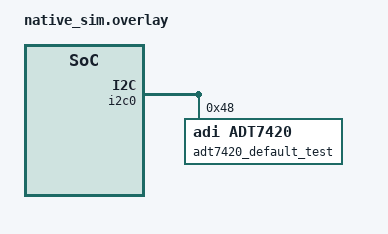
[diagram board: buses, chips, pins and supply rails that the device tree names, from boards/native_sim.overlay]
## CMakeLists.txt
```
# Copyright (c) 2026, Analog Devices, Inc.
# SPDX-License-Identifier: Apache-2.0

cmake_minimum_required(VERSION 3.28.0)
find_package(Zephyr REQUIRED HINTS $ENV{ZEPHYR_BASE})
project(device)

FILE(GLOB app_sources src/*.c)
target_sources(app PRIVATE ${app_sources})

zephyr_include_directories(${ZEPHYR_BASE}/drivers/sensor/adi/adt7420)
```

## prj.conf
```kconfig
# Copyright (c) 2026, Analog Devices, Inc.
# SPDX-License-Identifier: Apache-2.0

CONFIG_STDOUT_CONSOLE=y
CONFIG_I2C=y
CONFIG_SENSOR=y
CONFIG_CBPRINTF_FP_SUPPORT=y
CONFIG_PM_DEVICE=y
CONFIG_EMUL=y
CONFIG_ZTEST=y
CONFIG_ADT7420=y
```

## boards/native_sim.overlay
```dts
/*
 * Copyright (c) 2026, Analog Devices, Inc.
 * SPDX-License-Identifier: Apache-2.0
 */

&i2c0 {
	status = "okay";

	adt7420_default_test: adt7420@48 {
		compatible = "adi,adt7420";
		reg = <0x48>;
		op-mode = "one-shot";
		set-resolution = <16>;
		set-comparator-mode;
	};
};

/ {
	aliases {
		adt7420 = &adt7420_default_test;
	};
};
```

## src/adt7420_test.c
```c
/*
 * Copyright (c) 2026, Analog Devices Inc.
 *
 * SPDX-License-Identifier: Apache-2.0
 */

#include <zephyr/devicetree.h>
#include <zephyr/drivers/emul_sensor.h>
#include <zephyr/drivers/emul.h>
#include <zephyr/drivers/i2c_emul.h>
#include <zephyr/drivers/sensor/adt7420.h>
#include <zephyr/ztest.h>

#include "adt7420_emul.h"

#include <zephyr/logging/log.h>

#define LOG_MODULE_NAME test_adt7420_regs
LOG_MODULE_REGISTER(LOG_MODULE_NAME, LOG_LEVEL_INF);

#define ADT7420_TEST_CONFIG_FAULT_QUEUE_MASK	GENMASK(1, 0)
#define ADT7420_TEST_RESOLUTION_13_BIT_MICRO_C	7813 /* 0.0078125 */
#define ADT7420_TEST_RESOLUTION_16_BIT_MICRO_C	62500 /* 0.0625 */


struct adt7420_fixture {
	const struct device *dev;
	const struct emul *emul;
};

static void adt7420_after(void *data)
{
	const struct adt7420_fixture *fixture = data;

	adt7420_emul_reset(fixture->emul);
}

static void *adt7420_setup(void)
{
	static struct adt7420_fixture fixture = {
		.dev = DEVICE_DT_GET(DT_ALIAS(adt7420)),
		.emul = EMUL_DT_GET(DT_ALIAS(adt7420)),
	};

	zassert_not_null(fixture.dev);
	zassert_not_null(fixture.emul);
	zassert_true(device_is_ready(fixture.dev));

	return &fixture;
}

ZTEST_SUITE(adt7420, NULL, adt7420_setup, NULL, adt7420_after, NULL);

/* Attribute test */

/* test configuration via sensor_attr_set and sensor_attr_get */
ZTEST_F(adt7420, test_resolution)
{
	struct sensor_value sensor_val = {0};
	uint8_t target_val = 16;

	sensor_val.val1 = 1;
	zassert_equal(0,
		      sensor_attr_set(fixture->dev, SENSOR_CHAN_AMBIENT_TEMP,
				      SENSOR_ATTR_RESOLUTION, &sensor_val),
		      "Could not set sensor resolution");

	zassert_equal(0,
		      sensor_attr_get(fixture->dev, SENSOR_CHAN_AMBIENT_TEMP,
				      SENSOR_ATTR_RESOLUTION, &sensor_val),
		      "Could not get sensor resolution");

	zassert_equal(target_val, sensor_val.val1, "Expected %d, Received %d", target_val,
		      sensor_val.val1);
}

/* test all valid operation modes via SENSOR_ATTR_SAMPLING_FREQUENCY */
ZTEST_F(adt7420, test_sampling_frequency)
{
	struct sensor_value sensor_val = {0};

	for (uint8_t mode = ADT7420_OP_MODE_CONT_CONV; mode <= ADT7420_OP_MODE_SHUTDOWN; mode++) {
		sensor_val.val1 = mode;
		zassert_equal(0,
			      sensor_attr_set(fixture->dev, SENSOR_CHAN_AMBIENT_TEMP,
					      SENSOR_ATTR_SAMPLING_FREQUENCY, &sensor_val),
			      "Could not set sampling frequency mode %d", mode);

		zassert_equal(0,
			      sensor_attr_get(fixture->dev, SENSOR_CHAN_AMBIENT_TEMP,
					      SENSOR_ATTR_SAMPLING_FREQUENCY, &sensor_val),
			      "Could not get sampling frequency");

		zassert_equal(mode, sensor_val.val1, "Expected op mode %d, got %d", mode,
			      sensor_val.val1);
	}
}

/* test upper temperature threshold via SENSOR_ATTR_UPPER_THRESH */
ZTEST_F(adt7420, test_upper_threshold)
{
	struct sensor_value sensor_val = {0};

	sensor_val.val1 = 25;
	sensor_val.val2 = 0;
	zassert_equal(0,
		      sensor_attr_set(fixture->dev, SENSOR_CHAN_AMBIENT_TEMP,
				      SENSOR_ATTR_UPPER_THRESH, &sensor_val),
		      "Could not set upper threshold");

	zassert_equal(0,
		      sensor_attr_get(fixture->dev, SENSOR_CHAN_AMBIENT_TEMP,
				      SENSOR_ATTR_UPPER_THRESH, &sensor_val),
		      "Could not get upper threshold");

	zassert_equal(25, sensor_val.val1, "Expected 25 C, got %d", sensor_val.val1);
	zassert_equal(0, sensor_val.val2, "Expected val2 = 0, got %d", sensor_val.val2);
}

/* test lower temperature threshold via SENSOR_ATTR_LOWER_THRESH */
ZTEST_F(adt7420, test_lower_threshold)
{
	struct sensor_value sensor_val = {0};
	uint8_t target_val = 10;

	sensor_val.val1 = target_val;
	sensor_val.val2 = 0;
	zassert_equal(0,
		      sensor_attr_set(fixture->dev, SENSOR_CHAN_AMBIENT_TEMP,
				      SENSOR_ATTR_LOWER_THRESH, &sensor_val),
		      "Could not set lower threshold");

	zassert_equal(0,
		      sensor_attr_get(fixture->dev, SENSOR_CHAN_AMBIENT_TEMP,
				      SENSOR_ATTR_LOWER_THRESH, &sensor_val),
		      "Could not get lower threshold");

	zassert_equal(target_val, sensor_val.val1, "Expected 10 C, got %d", sensor_val.val1);
	zassert_equal(0, sensor_val.val2, "Expected val2 = 0, got %d", sensor_val.val2);
}

/* test lower temperature threshold via SENSOR_ATTR_LOWER_THRESH */
ZTEST_F(adt7420, test_lower_threshold_negative)
{
	struct sensor_value sensor_val = {0};
	int8_t target_val = -10;

	sensor_val.val1 = target_val;
	sensor_val.val2 = 0;
	zassert_equal(0,
		      sensor_attr_set(fixture->dev, SENSOR_CHAN_AMBIENT_TEMP,
				      SENSOR_ATTR_LOWER_THRESH, &sensor_val),
		      "Could not set lower threshold");

	zassert_equal(0,
		      sensor_attr_get(fixture->dev, SENSOR_CHAN_AMBIENT_TEMP,
				      SENSOR_ATTR_LOWER_THRESH, &sensor_val),
		      "Could not get lower threshold");

	zassert_equal(target_val, sensor_val.val1, "Expected 10 C, got %d", sensor_val.val1);
	zassert_equal(0, sensor_val.val2, "Expected val2 = 0, got %d", sensor_val.val2);
}

/* test hysteresis temperature via SENSOR_ATTR_HYSTERESIS */
ZTEST_F(adt7420, test_hysteresis)
{
	struct sensor_value sensor_val = {0};

	sensor_val.val1 = 5;
	zassert_equal(0,
		      sensor_attr_set(fixture->dev, SENSOR_CHAN_AMBIENT_TEMP,
				      SENSOR_ATTR_HYSTERESIS, &sensor_val),
		      "Could not set hysteresis");

	zassert_equal(0,
		      sensor_attr_get(fixture->dev, SENSOR_CHAN_AMBIENT_TEMP,
				      SENSOR_ATTR_HYSTERESIS, &sensor_val),
		      "Could not get hysteresis");

	zassert_equal(5, sensor_val.val1, "Expected hysteresis 5, got %d", sensor_val.val1);
}

/* test fault queue count via SENSOR_ATTR_FEATURE_MASK */
ZTEST_F(adt7420, test_fault_queue)
{
	struct sensor_value sensor_val = {0};
	uint8_t reg_val;

	sensor_val.val1 = ADT7420_FAULT_QUEUE_4_FAULTS;
	zassert_equal(0,
		      sensor_attr_set(fixture->dev, SENSOR_CHAN_AMBIENT_TEMP,
				      SENSOR_ATTR_FEATURE_MASK, &sensor_val),
		      "Could not set fault queue");

	adt7420_emul_get_reg(fixture->emul, ADT7420_REG_CONFIG, &reg_val);
	zassert_equal(ADT7420_FAULT_QUEUE_4_FAULTS,
		      FIELD_GET(ADT7420_TEST_CONFIG_FAULT_QUEUE_MASK, reg_val),
		      "Expected fault queue %d in CONFIG reg, got %d", ADT7420_FAULT_QUEUE_4_FAULTS,
		      FIELD_GET(ADT7420_TEST_CONFIG_FAULT_QUEUE_MASK, reg_val));

	zassert_equal(-ENOTSUP,
		      sensor_attr_get(fixture->dev, SENSOR_CHAN_AMBIENT_TEMP,
				      SENSOR_ATTR_FEATURE_MASK, &sensor_val),
		      "Expected -ENOTSUP for SENSOR_ATTR_FEATURE_MASK get");
}

/* test that an unsupported attribute returns -ENOTSUP for both set and get */
ZTEST_F(adt7420, test_unsupported_attr)
{
	struct sensor_value sensor_val = {0};

	zassert_equal(-ENOTSUP,
		      sensor_attr_set(fixture->dev, SENSOR_CHAN_AMBIENT_TEMP,
				      SENSOR_ATTR_OVERSAMPLING, &sensor_val),
		      "Expected -ENOTSUP for unsupported attr set");

	zassert_equal(-ENOTSUP,
		      sensor_attr_get(fixture->dev, SENSOR_CHAN_AMBIENT_TEMP,
				      SENSOR_ATTR_OVERSAMPLING, &sensor_val),
		      "Expected -ENOTSUP for unsupported attr get");
}

/* test alert status flags via SENSOR_ATTR_ALERT */
ZTEST_F(adt7420, test_alert)
{
	struct sensor_value sensor_val = {0};
	uint8_t status = ADT7420_STATUS_T_HIGH | ADT7420_STATUS_T_CRIT;

	adt7420_emul_set_reg(fixture->emul, ADT7420_REG_STATUS, &status);

	zassert_equal(0,
		      sensor_attr_get(fixture->dev, SENSOR_CHAN_AMBIENT_TEMP, SENSOR_ATTR_ALERT,
				      &sensor_val),
		      "Could not get alert status");

	zassert_equal(status, (uint8_t)sensor_val.val1, "Expected status 0x%02x, got 0x%02x",
		      status, sensor_val.val1);
}

/* Channel set and sample fetch tests */

ZTEST_F(adt7420, test_fetch_temp_13bit)
{
	struct sensor_value sensor_val = {0};
	struct sensor_chan_spec ch = {.chan_type = SENSOR_CHAN_AMBIENT_TEMP, .chan_idx = 0};
	q31_t lower, upper, epsilon;
	int8_t shift;

	/* Get the sample range to know valid shift/epsilon */
	zassert_ok(emul_sensor_backend_get_sample_range(fixture->emul, ch, &lower, &upper, &epsilon,
							&shift));

	/* Set 25.0C: q31 = (25 * (INT32_MAX+1)) >> shift */
	q31_t temp_25c = ((int64_t)25 * BIT(31)) >> shift;

	zassert_ok(emul_sensor_backend_set_channel(fixture->emul, ch, &temp_25c, shift));

	zassert_ok(sensor_sample_fetch(fixture->dev));
	zassert_ok(sensor_channel_get(fixture->dev, SENSOR_CHAN_AMBIENT_TEMP, &sensor_val));

	/* 13-bit resolution: 1/16 °C = 0.0625 °C granularity */
	zassert_equal(25, sensor_val.val1, "Expected 25 C, got %d", sensor_val.val1);
	zassert_within(0, sensor_val.val2, ADT7420_TEST_RESOLUTION_16_BIT_MICRO_C,
		       "Expected val2 near 0, got %d", sensor_val.val2);
}

ZTEST_F(adt7420, test_fetch_temp_16bit)
{
	struct sensor_value sensor_val = {0};
	struct sensor_value resolution = {.val1 = 1, .val2 = 0};
	struct sensor_chan_spec ch = {.chan_type = SENSOR_CHAN_AMBIENT_TEMP, .chan_idx = 0};
	q31_t lower, upper, epsilon;
	int8_t shift;

	/* Switch to 16-bit resolution */
	zassert_ok(sensor_attr_set(fixture->dev, SENSOR_CHAN_AMBIENT_TEMP, SENSOR_ATTR_RESOLUTION,
				   &resolution));

	zassert_ok(emul_sensor_backend_get_sample_range(fixture->emul, ch, &lower, &upper, &epsilon,
							&shift));

	/* Set 25.5C */
	q31_t temp_25_5c = ((int64_t)25500 * BIT(31) / 1000) >> shift;

	zassert_ok(emul_sensor_backend_set_channel(fixture->emul, ch, &temp_25_5c, shift));

	zassert_ok(sensor_sample_fetch(fixture->dev));
	zassert_ok(sensor_channel_get(fixture->dev, SENSOR_CHAN_AMBIENT_TEMP, &sensor_val));

	/* 16-bit resolution: 1/128 °C = 0.0078125 °C granularity */
	zassert_equal(25, sensor_val.val1, "Expected 25 C, got %d", sensor_val.val1);
	zassert_within(500000, sensor_val.val2, ADT7420_TEST_RESOLUTION_13_BIT_MICRO_C,
		       "Expected val2 near 500000, got %d", sensor_val.val2);
}

ZTEST_F(adt7420, test_fetch_negative_temp_13_bit)
{
	struct sensor_value sensor_val = {0};
	struct sensor_chan_spec ch = {.chan_type = SENSOR_CHAN_AMBIENT_TEMP, .chan_idx = 0};
	q31_t lower, upper, epsilon;
	int8_t shift;

	zassert_ok(emul_sensor_backend_get_sample_range(fixture->emul, ch, &lower, &upper, &epsilon,
							&shift));

	/* Set -10.0C */
	q31_t temp_neg10c = ((int64_t)(-10) * BIT(31)) >> shift;

	zassert_ok(emul_sensor_backend_set_channel(fixture->emul, ch, &temp_neg10c, shift));

	zassert_ok(sensor_sample_fetch(fixture->dev));
	zassert_ok(sensor_channel_get(fixture->dev, SENSOR_CHAN_AMBIENT_TEMP, &sensor_val));

	zassert_equal(-10, sensor_val.val1, "Expected -10 C, got %d", sensor_val.val1);
	zassert_within(0, sensor_val.val2, ADT7420_TEST_RESOLUTION_13_BIT_MICRO_C,
		       "Expected val2 near 0, got %d", sensor_val.val2);
}

ZTEST_F(adt7420, test_fetch_negative_temp_16_bit)
{
	struct sensor_value sensor_val = {0};
	struct sensor_value resolution = {.val1 = 1, .val2 = 0};
	struct sensor_chan_spec ch = {.chan_type = SENSOR_CHAN_AMBIENT_TEMP, .chan_idx = 0};
	q31_t lower, upper, epsilon;
	int8_t shift;

	/* Switch to 16-bit resolution */
	zassert_ok(sensor_attr_set(fixture->dev, SENSOR_CHAN_AMBIENT_TEMP, SENSOR_ATTR_RESOLUTION,
				   &resolution));

	zassert_ok(emul_sensor_backend_get_sample_range(fixture->emul, ch, &lower, &upper, &epsilon,
							&shift));

	/* Set -25.5C */
	q31_t temp_25_5c = ((int64_t)-25500 * BIT(31) / 1000) >> shift;

	zassert_ok(emul_sensor_backend_set_channel(fixture->emul, ch, &temp_25_5c, shift));

	zassert_ok(sensor_sample_fetch(fixture->dev));
	zassert_ok(sensor_channel_get(fixture->dev, SENSOR_CHAN_AMBIENT_TEMP, &sensor_val));

	zassert_equal(-25, sensor_val.val1, "Expected -25 C, got %d", sensor_val.val1);
	zassert_within(-500000, sensor_val.val2, ADT7420_TEST_RESOLUTION_16_BIT_MICRO_C,
		       "Expected val2 near 500000, got %d", sensor_val.val2);
}
```
